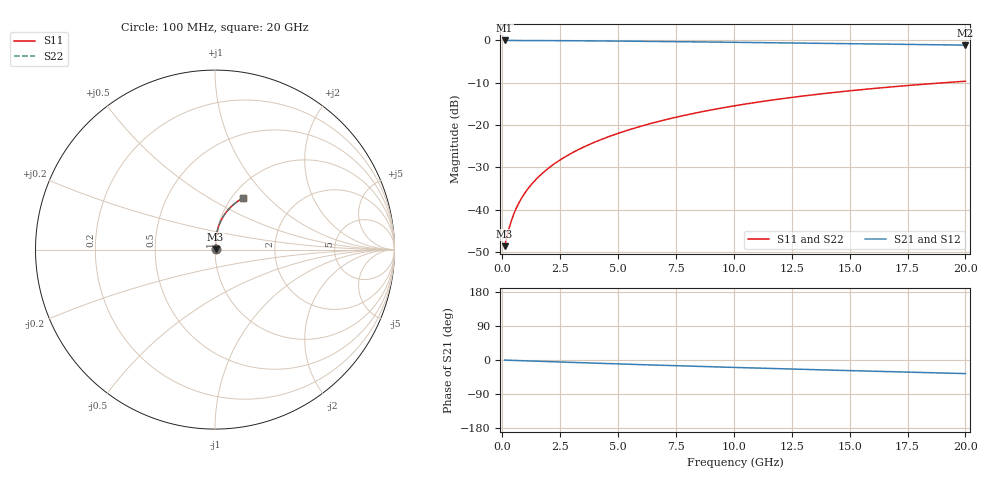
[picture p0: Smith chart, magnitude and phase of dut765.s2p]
! Touchstone file exported from HFSS 2024.1.0
!  File:  C:/UserFiles/LocalFiles/RDL_TSV_Batchsim/temp_RDL_bottom_765_1779860365.aedt
!  Generated:  01:42:00 PM May 27, 2026
!  Design:  RDL_bottom
!  Project:  temp_RDL_bottom_765_1779860365
!  Setup:  Setup1
!  Solution:  Sweep
! Variables:
!  dtsv = 10.80580581um
!  hbump = 3um
!  htsv = 62.93um
!  ldown = 508.15um
!  lrdl = 100um
!  p = 40
!  p1 = 45.93um
!  rhole = 1um
!  t = 450um
!  tdown = 2.69um
!  trdl = 3.915915916um
!  wdown = 22.02um
!  wrdl = 20um
# GHz S MA R 50.000000
! Terminal data exported
! Port[1] = RDL1_T1
! Port[2] = RDL1_T2
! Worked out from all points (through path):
!   200 points, 100 MHz to 20 GHz, reference 50 ohm
!   highest |S21| = -0.03 dB at 100 MHz (marker M1); lowest = -1.1 dB at 20 GHz (marker M2)
!   group delay of S21, straight-line fit = 4.95 ps
!   lowest |S11| = -48.6 dB at 100 MHz (marker M3), VSWR 1.01, Z = 50.3 + j0.174 ohm
!   |S11| at or under -10 dB: start of sweep to 19.09 GHz
!   |S22| runs from -48.6 to -9.7 dB; largest |S21 - S12| = 3.4e-15
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0.1  0.003721 27.6  0.9967 -0.2  0.9967 -0.2  0.003721 27.6
! Gamma 0 0 0 0
! Port Impedance 50 0 50 0
0.3  0.006154 54.7  0.9964 -0.7  0.9964 -0.7  0.006154 54.7
0.4  0.007556 60.7  0.9962 -0.9  0.9962 -0.9  0.007556 60.7
0.5  0.008972 64.7  0.996 -1.1  0.996 -1.1  0.008972 64.7
0.6  0.01039 67.7  0.9958 -1.3  0.9958 -1.3  0.01039 67.7
0.8  0.01325 72.0  0.9955 -1.7  0.9955 -1.7  0.01325 72.0
1  0.01613 74.9  0.9951 -2.1  0.9951 -2.1  0.01613 74.9
1.2  0.01906 77.0  0.9947 -2.6  0.9947 -2.6  0.01906 77.0
1.4  0.02201 78.5  0.9943 -3.0  0.9943 -3.0  0.02201 78.5
1.7  0.02651 80.3  0.9936 -3.6  0.9936 -3.6  0.02651 80.3
2.2  0.03415 82.1  0.9923 -4.7  0.9923 -4.7  0.03415 82.1
2.8  0.04354 83.4  0.9903 -5.9  0.9903 -5.9  0.04354 83.4
3.5  0.05477 84.1  0.9874 -7.3  0.9874 -7.3  0.05477 84.1
4.2  0.06631 84.3  0.9842 -8.7  0.9842 -8.7  0.06631 84.3
5  0.07982 84.1  0.98 -10.3  0.98 -10.3  0.07982 84.1
6.8  0.1112 82.6  0.9694 -13.8  0.9694 -13.8  0.1112 82.6
8.4  0.1397 80.5  0.959 -16.7  0.959 -16.7  0.1397 80.5
10.1  0.17 77.9  0.9476 -19.8  0.9476 -19.8  0.17 77.9
11.7  0.1981 75.2  0.9365 -22.5  0.9365 -22.5  0.1981 75.2
13.4  0.2272 72.3  0.9247 -25.4  0.9247 -25.4  0.2272 72.3
16.7  0.2806 66.7  0.9014 -30.7  0.9014 -30.7  0.2806 66.7
20  0.3291 61.2  0.8781 -35.9  0.8781 -35.9  0.3291 61.2
